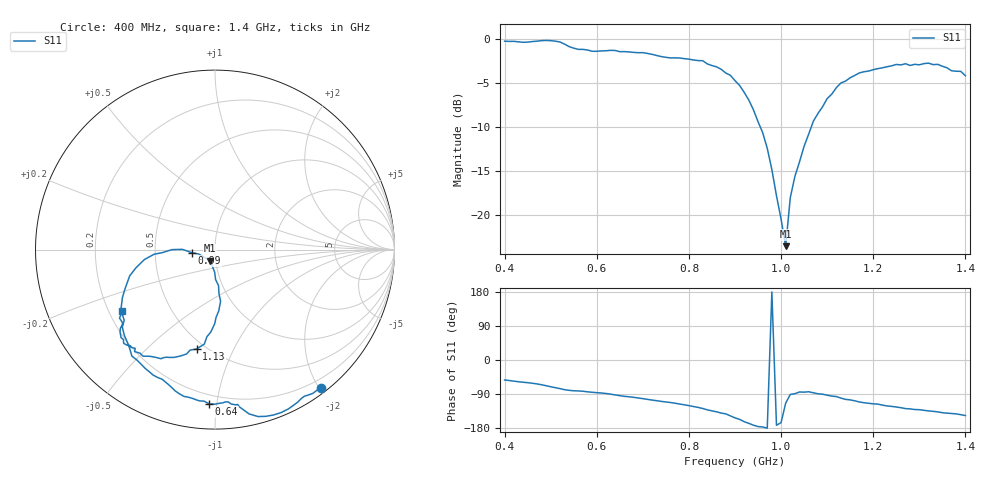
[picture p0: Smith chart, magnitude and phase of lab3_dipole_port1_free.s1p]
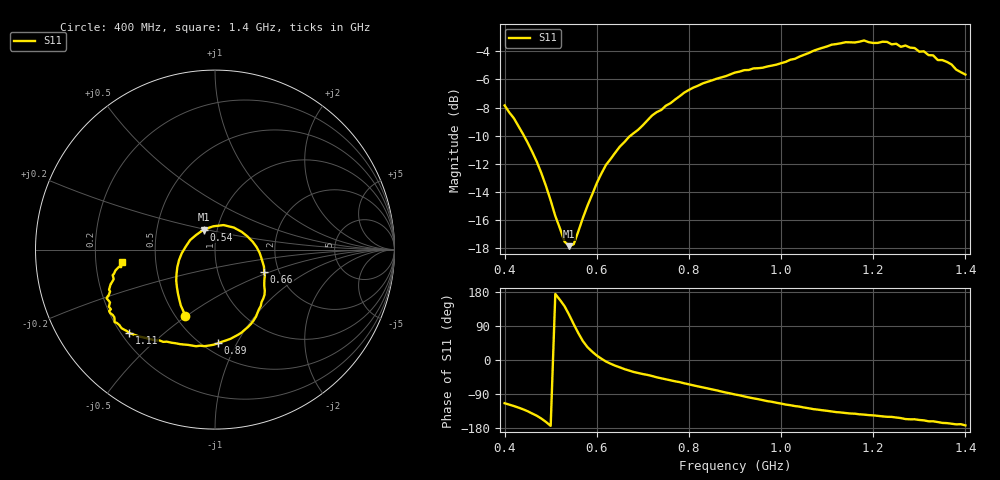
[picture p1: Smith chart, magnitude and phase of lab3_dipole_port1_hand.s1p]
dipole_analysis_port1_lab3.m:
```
function dipole_analysis_lab3
    % DIPLOE_ANALYSIS_LAB3
    % Analyzes two single-port S11 measurements for a dipole:
    %   (1) Free-space (lab3_dipole_port1_free.s1p)
    %   (2) With a hand nearby (lab3_dipole_port1_hand.s1p)
    %
    % Requires MATLAB RF Toolbox for sparameters(), smithplot(), etc.

    clc; clear; close all;

    % ---------------------------
    % 1) Filenames
    % ---------------------------
    filename_free = 'lab3_dipole_port1_free.s1p';
    filename_hand = 'lab3_dipole_port1_hand.s1p';

    % ---------------------------
    % 2) Load S-Parameter Data
    % ---------------------------
    sparamObj_free = sparameters(filename_free);
    sparamObj_hand = sparameters(filename_hand);

    % Extract frequency in Hz
    freq_free = sparamObj_free.Frequencies;
    freq_hand = sparamObj_hand.Frequencies;

    % Convert to GHz for plotting
    freqGHz_free = freq_free / 1e9;
    freqGHz_hand = freq_hand / 1e9;

    % Single-port S11
    S11_free = squeeze(sparamObj_free.Parameters(1,1,:));
    S11_hand = squeeze(sparamObj_hand.Parameters(1,1,:));

    % Characteristic impedance
    Z0 = 50;

    % ---------------------------
    % 3) Compute Key Parameters
    % ---------------------------
    % FREE condition
    S11_free_mag   = abs(S11_free);         % |S11|
    S11_free_dB    = 20*log10(S11_free_mag);
    S11_free_phase = rad2deg(angle(S11_free));
    Z_in_free      = Z0 * (1 + S11_free) ./ (1 - S11_free);
    % Fraction of power delivered = 1 - |S11|^2
    PowerFrac_free = 1 - (S11_free_mag).^2;

    % HAND condition
    S11_hand_mag   = abs(S11_hand);
    S11_hand_dB    = 20*log10(S11_hand_mag);
    S11_hand_phase = rad2deg(angle(S11_hand));
    Z_in_hand      = Z0 * (1 + S11_hand) ./ (1 - S11_hand);
    PowerFrac_hand = 1 - (S11_hand_mag).^2;

    % ---------------------------
    % 4) Plot S11 (dB) vs Frequency
    % ---------------------------
    figure('Name','S11(dB) Comparison');
    p1 = plot(freqGHz_free, S11_free_dB, 'LineWidth',1.5); 
    hold on;
    p2 = plot(freqGHz_hand, S11_hand_dB, 'LineWidth',1.5);
    grid on;
    xlabel('Frequency (GHz)');
    ylabel('S_{11} (dB)');
    title('Dipole S11: Free vs Hand');
    legend([p1,p2], {'Free','Hand'}, 'Location','best');

    % ---------------------------
    % 5) Smith Chart Comparison
    % ---------------------------
    figure('Name','Smith Chart Comparison');
    smithplot(freq_free, S11_free, 'LineWidth',1.5);
    hold on;
    smithplot(freq_hand, S11_hand, 'LineWidth',1.5);
    legend('Free','Hand','Location','best');
    title('Dipole S11 Smith Chart: Free vs Hand');

    % ---------------------------
    % 6) Print Data at 1 GHz
    % ---------------------------
    targetFreq = 1e9;  % 1 GHz

    % Find the closest index to 1 GHz for each measurement
    [~, idx_free] = min(abs(freq_free - targetFreq));
    [~, idx_hand] = min(abs(freq_hand - targetFreq));

    fprintf('\n=== Dipole S11 at ~%.3f GHz ===\n', targetFreq/1e9);

    % --- FREE data printout
    fprintf('--- FREE CASE ---\n');
    fprintf('Frequency: %.3f GHz\n', freq_free(idx_free)/1e9);
    fprintf('S11 (dB):          %.2f dB\n', S11_free_dB(idx_free));
    fprintf('S11 (phase):       %.2f deg\n', S11_free_phase(idx_free));
    fprintf('Input Z:           %.2f + j%.2f Ohms\n', ...
            real(Z_in_free(idx_free)), imag(Z_in_free(idx_free)));
    fprintf('Power Delivered:   %.2f%%\n', ...
            100 * PowerFrac_free(idx_free));

    % --- HAND data printout
    fprintf('\n--- HAND CASE ---\n');
    fprintf('Frequency: %.3f GHz\n', freq_hand(idx_hand)/1e9);
    fprintf('S11 (dB):          %.2f dB\n', S11_hand_dB(idx_hand));
    fprintf('S11 (phase):       %.2f deg\n', S11_hand_phase(idx_hand));
    fprintf('Input Z:           %.2f + j%.2f Ohms\n', ...
            real(Z_in_hand(idx_hand)), imag(Z_in_hand(idx_hand)));
    fprintf('Power Delivered:   %.2f%%\n', ...
            100 * PowerFrac_hand(idx_hand));
    fprintf('\n');
end
```
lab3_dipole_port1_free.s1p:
# HZ S RI R 50
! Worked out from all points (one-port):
!   101 points, 400 MHz to 1.4 GHz, reference 50 ohm
!   lowest |S11| = -23.5 dB at 1.01 GHz (marker M1), VSWR 1.14, Z = 47 - j5.79 ohm
!   |S11| at or under -10 dB: 955.1 MHz to 1.065 GHz (110.3 MHz wide, 10.9 % of centre)
!   S11 on the Smith chart (normalised r, x): 400 MHz: 0.08, -2.02; 640 MHz: 0.14, -0.95; 990 MHz: 0.77, -0.03; 1.13 GHz: 0.45, -0.73; 1.4 GHz: 0.26, -0.28
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4e8  0.5882 -0.7722
5.1e8  0.2835 -0.9289
6.4e8  -0.0329 -0.8592
7.4e8  -0.2615 -0.75
8.3e8  -0.4633 -0.5928
9.1e8  -0.5005 -0.2161
9.6e8  -0.2944 -0.0172
9.9e8  -0.1282 -0.0174
1.01e9  -0.0271 -0.0613
1.03e9  0.00322 -0.1665
1.07e9  0.021 -0.341
1.13e9  -0.1028 -0.5538
1.25e9  -0.4011 -0.5938
1.4e9  -0.5157 -0.3417
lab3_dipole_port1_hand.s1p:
# HZ S RI R 50
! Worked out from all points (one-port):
!   101 points, 400 MHz to 1.4 GHz, reference 50 ohm
!   lowest |S11| = -17.9 dB at 540 MHz (marker M1), VSWR 1.29, Z = 43.1 + j9.77 ohm
!   |S11| at or under -10 dB: 442 MHz to 673 MHz (231.1 MHz wide, 41.4 % of centre)
!   S11 on the Smith chart (normalised r, x): 400 MHz: 0.56, -0.50; 540 MHz: 0.86, +0.20; 660 MHz: 1.68, -0.45; 890 MHz: 0.59, -0.84; 1.11 GHz: 0.23, -0.39; 1.4 GHz: 0.32, -0.06
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4e8  -0.1653 -0.37
4.8e8  -0.2101 -0.099
5.3e8  -0.1049 0.0817
5.4e8  -0.0629 0.1115
5.6e8  0.0475 0.1366
6e8  0.21 0.0437
6.6e8  0.2743 -0.1222
7.4e8  0.2596 -0.2917
8e8  0.2003 -0.4142
8.9e8  0.0164 -0.5224
1.07e9  -0.4039 -0.4881
1.11e9  -0.4784 -0.4642
1.27e9  -0.6038 -0.2709
1.4e9  -0.5175 -0.0679
